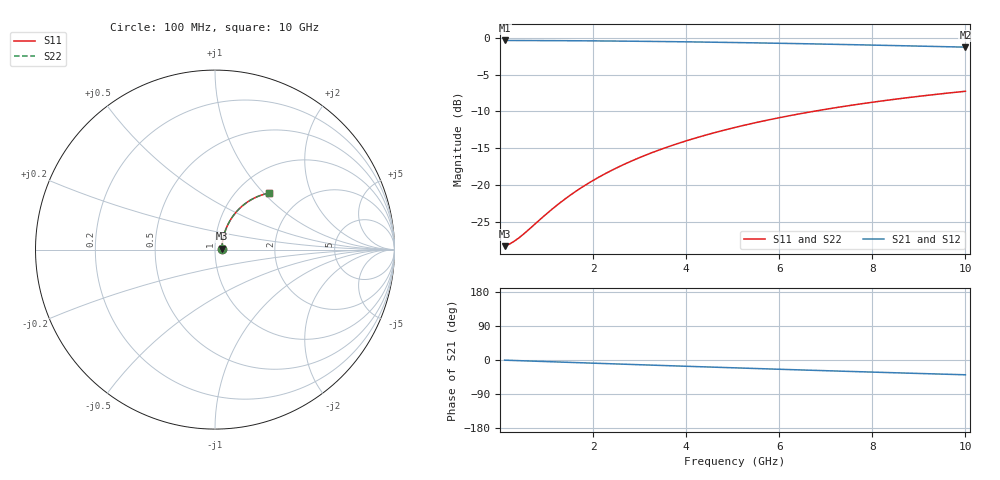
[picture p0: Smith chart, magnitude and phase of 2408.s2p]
# Hz S RI R 50.00
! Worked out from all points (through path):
!   100 points, 100 MHz to 10 GHz, reference 50 ohm
!   highest |S21| = -0.34 dB at 100 MHz (marker M1); lowest = -1.2 dB at 10 GHz (marker M2)
!   group delay of S21, straight-line fit = 10.9 ps
!   lowest |S11| = -28.3 dB at 100 MHz (marker M3), VSWR 1.08, Z = 54 + j0.514 ohm
!   |S11| at or under -10 dB: start of sweep to 6.72 GHz
!   |S22| runs from -28.3 to -7.2 dB; largest |S21 - S12| = 0
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1e8  0.0381 0.00476  0.9619 -0.00704  0.9619 -0.00704  0.0381 0.00476
2e8  0.0384 0.00951  0.9616 -0.0141  0.9616 -0.0141  0.0384 0.00951
3e8  0.0388 0.0143  0.9612 -0.0211  0.9612 -0.0211  0.0388 0.0143
4e8  0.0392 0.019  0.9608 -0.0281  0.9608 -0.0281  0.0392 0.019
1e9  0.0426 0.0472  0.9571 -0.07  0.9571 -0.07  0.0426 0.0472
1.2e9  0.0443 0.0565  0.9553 -0.0839  0.9553 -0.0839  0.0443 0.0565
1.5e9  0.0473 0.0704  0.9521 -0.1046  0.9521 -0.1046  0.0473 0.0704
1.8e9  0.0508 0.0841  0.9483 -0.1251  0.9483 -0.1251  0.0508 0.0841
2.1e9  0.0549 0.0976  0.9439 -0.1454  0.9439 -0.1454  0.0549 0.0976
2.5e9  0.0612 0.1152  0.9371 -0.1722  0.9371 -0.1722  0.0612 0.1152
2.9e9  0.0685 0.1323  0.9292 -0.1984  0.9292 -0.1984  0.0685 0.1323
3.4e9  0.0789 0.1529  0.9179 -0.2305  0.9179 -0.2305  0.0789 0.1529
3.8e9  0.0882 0.1688  0.9079 -0.2555  0.9079 -0.2555  0.0882 0.1688
4.2e9  0.0983 0.184  0.8969 -0.2799  0.8969 -0.2799  0.0983 0.184
4.6e9  0.1092 0.1985  0.8851 -0.3036  0.8851 -0.3036  0.1092 0.1985
5.1e9  0.1237 0.2155  0.8693 -0.3321  0.8693 -0.3321  0.1237 0.2155
5.9e9  0.1489 0.2402  0.8417 -0.3753  0.8417 -0.3753  0.1489 0.2402
6.7e9  0.1761 0.2617  0.8117 -0.4153  0.8117 -0.4153  0.1761 0.2617
7.5e9  0.2048 0.2797  0.7799 -0.4519  0.7799 -0.4519  0.2048 0.2797
8.4e9  0.2383 0.2959  0.7424 -0.4891  0.7424 -0.4891  0.2383 0.2959
9.2e9  0.2687 0.3068  0.708 -0.5187  0.708 -0.5187  0.2687 0.3068
1e10  0.2992 0.3144  0.6731 -0.5452  0.6731 -0.5452  0.2992 0.3144
